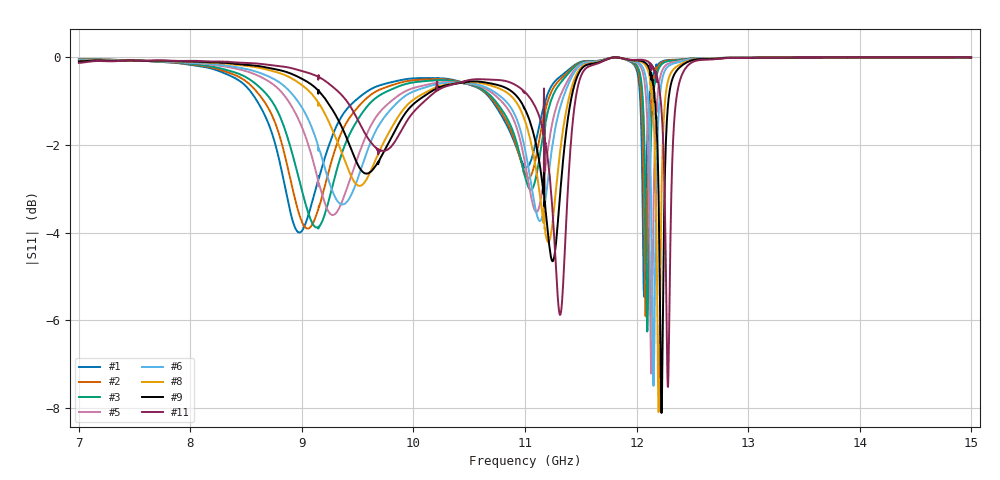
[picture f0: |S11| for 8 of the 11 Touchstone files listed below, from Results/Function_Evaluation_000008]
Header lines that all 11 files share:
! TOUCHSTONE file generated by CST DESIGN STUDIO
! Project name: C:\Work\MatlabApps\UnitCellType2OptimizationMatlab\CST\unitcell.cst
! Tree item: Tasks\Sweep1\SPara1\S-Parameters
! Header version: 2024
! Port assignment regex: !\s*Touchstone port\s*([0-9]+)\s*=\s*(CST MWS port|CST DES external port|CST DES block port)\s*(.+)\s* \(\"(.*)\"\)(\s*mode\s*([0-9]+))?.*
! Touchstone port assignment:
! Touchstone port 1 = CST DES external port 1 ("")
# GHz S MA R 50
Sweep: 7 GHz to 15 GHz
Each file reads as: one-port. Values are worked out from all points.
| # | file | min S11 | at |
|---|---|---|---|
| 1 | DS_for_MWS-run-0001.s1p | -5.5 dB | 12.07 GHz |
| 2 | DS_for_MWS-run-0002.s1p | -5.9 dB | 12.08 GHz |
| 3 | DS_for_MWS-run-0003.s1p | -6.3 dB | 12.1 GHz |
| 4 | DS_for_MWS-run-0004.s1p | -6.7 dB | 12.11 GHz |
| 5 | DS_for_MWS-run-0005.s1p | -7.2 dB | 12.13 GHz |
| 6 | DS_for_MWS-run-0006.s1p | -7.5 dB | 12.15 GHz |
| 7 | DS_for_MWS-run-0007.s1p | -7.9 dB | 12.17 GHz |
| 8 | DS_for_MWS-run-0008.s1p | -8.1 dB | 12.2 GHz |
| 9 | DS_for_MWS-run-0009.s1p | -8.1 dB | 12.22 GHz |
| 10 | DS_for_MWS-run-0010.s1p | -7.9 dB | 12.25 GHz |
| 11 | DS_for_MWS-run-0011.s1p | -7.5 dB | 12.28 GHz |
